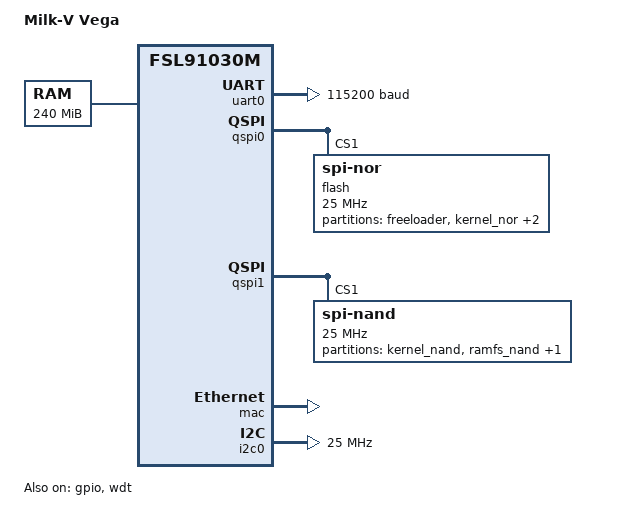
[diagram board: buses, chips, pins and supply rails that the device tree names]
// SPDX-License-Identifier: (GPL-2.0 OR MIT)
/* Copyright (c) 2020 Nuclei System Technologies */

/* Clock frequency (in Hz) of the PCB crystal for rtcclk */
/*#define RTCCLK_FREQ		32768*/

/dts-v1/;

/ {
	#address-cells = <2>;
	#size-cells = <2>;
	compatible = "milkv,vega", "fisilink,fsl91030m";
	model = "Milk-V Vega";

	chosen {
		bootargs = "earlycon=sbi console=ttySIF0,115200 ubi.mtd=6 root=ubi0:ubifs rw rootfstype=ubifs init=/linuxrc mem=256M user_debug=1";
		stdout-path = "serial0";
	};

	aliases {
		serial0 = &uart0;
		serial1 = &uart1;
	};

	cpus {
		#address-cells = <1>;
		#size-cells = <0>;
		timebase-frequency = <48828>;
		
		cpu0: cpu@0 {
			device_type = "cpu";
			reg = <0>;
			status = "okay";
			compatible = "riscv";
			riscv,isa = "rv64imafdc";
			mmu-type = "riscv,sv39";
			clock-frequency = <400000000>;
		
			cpu0_intc: interrupt-controller {
				#interrupt-cells = <1>;
				interrupt-controller;
				compatible = "riscv,cpu-intc";
			};
		};
	};

	memory@41000000 {
		device_type = "memory";
		reg = <0x0 0x41000000 0x0 0xf000000>;
	};

	soc {
		#address-cells = <2>;
		#size-cells = <2>;
		compatible = "nuclei,ux600fd", "simple-bus";
		ranges;
	};

	hfclk: hfclk {
		#clock-cells = <0>;
		compatible = "fixed-clock";
		clock-frequency = <200000000>;
		clock-output-names = "hfclk";
	};
 
 	hfclk2: hfclk2 {
		#clock-cells = <0>;
		compatible = "fixed-clock";
		clock-frequency = <100000000>;
		clock-output-names = "hfclk2";
	};

	console {
		compatible = "sbi,console";
	};

	plic0: interrupt-controller@8000000 {
		#interrupt-cells = <1>;
		compatible = "riscv,plic0";
		interrupt-controller;
		riscv,ndev = <53>;
		interrupts-extended =
		<&cpu0_intc 11 &cpu0_intc 9>;
		reg = <0x0 0x8000000 0x0 0x4000000>;
	};

	/*
	 * Split ACLINT description of the Nuclei timer block (CLINT-
	 * compatible part starts at +0x1000). The "riscv,aclint-mswi"
	 * and "riscv,aclint-mtimer" compatibles let OpenSBI's FDT
	 * driver take sizes from DT reg (instead of the sifive,clint0
	 * path which hardcodes the 16 KiB MSWI / 32 KiB mtimecmp
	 * sizes that fragment the PMP map on this 8-PMP-entry SoC).
	 *
	 * Linux and U-Boot here use SBI for timer/IPI, so they don't
	 * care whether we describe it as CLINT or split ACLINT.
	 */
	mswi: mswi@2001000 {
		compatible = "riscv,aclint-mswi";
		reg = <0x0 0x02001000 0x0 0x1000>;
		interrupts-extended = <&cpu0_intc 3>;
	};

	mtimer: mtimer@2005000 {
		compatible = "riscv,aclint-mtimer";
		reg = <0x0 0x02005000 0x0 0x8>,     /* mtimecmp */
		      <0x0 0x0200cff8 0x0 0x8>;     /* mtime */
		reg-names = "mtimecmp", "mtime";
		interrupts-extended = <&cpu0_intc 7>;
	};

	/*
	 * Syscon covering the Nuclei-private slice of the timer block
	 * (0x02000000-0x02000FFF) so we can describe the MSFTRST reset
	 * register at offset 0xFF0 as a generic syscon-reboot node.
	 * The CLINT-compatible part starts at +0x1000 and lives in its
	 * own node above.
	 */
	syscon: syscon@2000000 {
		compatible = "syscon", "simple-mfd";
		reg = <0x0 0x02000000 0x0 0x1000>;
	};

	reboot {
		compatible = "syscon-reboot";
		regmap = <&syscon>;
		offset = <0xff0>;
		mask = <0xffffffff>;
		value = <0x80000a5f>;
	};

	poweroff {
		compatible = "syscon-poweroff";
		regmap = <&syscon>;
		offset = <0xff0>;
		mask = <0xffffffff>;
		value = <0x80000a5f>;
	};

	uart0: serial@10013000 {
		compatible = "sifive,uart0";
		reg = <0x0 0x10013000 0x0 0x1000>;
		interrupt-parent = <&plic0>;
		interrupts = <2>;
		clocks = <&hfclk2>;
		clock-frequency = <100000000>;
		current-speed = <115200>;
		status = "okay";
	};

	uart1: serial@10012000 {
		compatible = "sifive,uart0";
		reg = <0x0 0x10012000 0x0 0x1000>;
		interrupt-parent = <&plic0>;
		interrupts = <3>;
		clocks = <&hfclk2>;
		status = "disabled";
	};
  
	qspi0: spi@10014000 {
		compatible = "sifive,spi0";
		reg = <0x0 0x10014000 0x0 0x1000>;
		interrupt-parent = <&plic0>;
		interrupts = <5>;
		clocks = <&hfclk2>;
		num-cs = <1>;
		#address-cells = <1>;
		#size-cells = <0>;
		/*
		 * Nuclei variant: 4-entry TX/RX FIFO instead of the SiFive
		 * default of 8. Without this property the upstream driver
		 * sets RX watermark to (n_words - 1) for n_words=8, which
		 * never fires on a 4-entry FIFO and every transfer times
		 * out ("failed to xfer data").
		 */
		sifive,fifo-depth = <4>;
		status = "okay";

		flash@1 {
			compatible = "jedec,spi-nor";
			reg = <1>;
			spi-tx-bus-width = <1>;
			spi-rx-bus-width = <1>;
			spi-max-frequency = <25000000>;

			partitions {
				compatible = "fixed-partitions";
				#address-cells = <1>;
				#size-cells = <1>;

				partition@0 {
					reg = <0x00000000 0x00100000>;
					label = "freeloader";
				};

				partition@100000 {
					reg = <0x00100000 0x00400000>;
					label = "kernel_nor";
				};

				partition@500000 {
					reg = <0x00500000 0x01400000>;
					label = "ramfs_nor";
				};

				partition@1900000 {
					reg = <0x01900000 0x00A00000>;
					label = "jffs2_nor";
				};
			};
		};
	};

	qspi1: spi@10016000 {
		compatible = "sifive,spi0";
		reg = <0x0 0x10016000 0x0 0x1000>;
		interrupt-parent = <&plic0>;
		interrupts = <6>;
		clocks = <&hfclk2>;
		num-cs = <1>;
		#address-cells = <1>;
		#size-cells = <0>;
		/* Nuclei variant FIFO depth — see qspi0 comment */
		sifive,fifo-depth = <4>;
		status = "okay";
  
		spi-nand@1 {
			compatible = "spi-nand";
			reg = <1>;
			spi-max-frequency = <25000000>;
			spi-tx-bus-width = <1>;
			spi-rx-bus-width = <1>;

			partitions {
				compatible = "fixed-partitions";
				#address-cells = <1>;
				#size-cells = <1>;

				partition@0 {
					reg = <0x00000000 0x00400000>;
					label = "kernel_nand";
				};

				partition@400000 {
					reg = <0x00400000 0x01400000>;
					label = "ramfs_nand";
				};

				partition@1800000 {
					reg = <0x01800000 0x02800000>;
					label = "ubifs_nand";
				};
			};
		};
	};
  
	mac: ethernet@67800000 {
		compatible = "fsl,fsl-mac";
		reg = <0x0 0x67800000 0x0 0x1000>;
		interrupt-parent = <&plic0>;
		interrupts = <10>,<11>,<12>;
		clocks = <&hfclk>;
		num-cs = <1>;
		#address-cells = <1>;
		#size-cells = <0>;
		status = "okay";
	};	

	gpio: gpio@10011000 {
		compatible = "sifive,gpio0";
		interrupt-parent = <&plic0>;
		interrupts = <1>;
		reg = <0x0 0x10011000 0x0 0x1000>;
		gpio-controller;
		#gpio-cells = <2>;
		interrupt-controller;
		#interrupt-cells = <2>;
		clocks = <&hfclk>;
		status = "okay";
	};

	i2c0: ocores@10018000 {
		compatible = "opencores,i2c-ocores";
		#address-cells = <1>;
		#size-cells = <0>;     
		interrupt-parent = <&plic0>;
		interrupts = <4>;
		reg = <0x0 0x10018000 0x0 0x1000>;
		clock-frequency = <25000000>;
	}; 

  	wdt: watchdog@68000000 {
		compatible = "riscv,fsl-wdt";
		reg = <0x0 0x68000000 0x0 0x20>;
		interrupt-parent = <&plic0>;
		interrupts = <8>;
		clocks = <&hfclk>;
		status = "okay";
	};		
};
